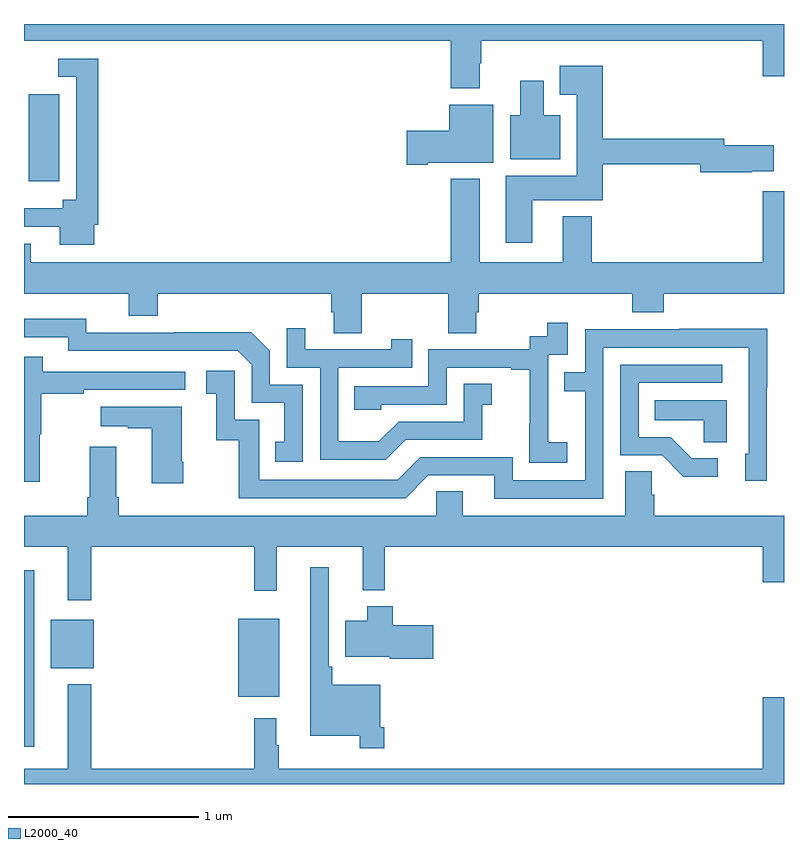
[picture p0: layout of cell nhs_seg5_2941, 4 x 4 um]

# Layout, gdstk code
import gdstk
lib = gdstk.Library(unit=1e-6, precision=1e-09)
def R(c, l, rs):  # rectangles x0, y0, x1, y1
    for r in rs: c.add(gdstk.rectangle(r[:2], r[2:], *l))
def P(c, l, *ps):  # polygons
    for p in ps: c.add(gdstk.Polygon(p, *l))
L2000_40 = (2000, 40)

nhs_seg5_2941 = lib.new_cell('nhs_seg5_2941')
R(nhs_seg5_2941, L2000_40, [(281,900.995,281.053,901.924), (282.128,901.259,282.343,901.669), (281.141,901.409,281.368,901.663), (281.024,903.972,281.185,904.429)])
P(nhs_seg5_2941, L2000_40, [(283.399,904.592),(283.407,904.592),(283.407,904.712),(284.888,904.712),(284.888,904.524),(285,904.524),(285,904.799),(281,904.799),(281,904.712),(283.247,904.712),(283.247,904.46),(283.399,904.46)],
  [(281.371,903.742),(281.39,903.742),(281.39,904.617),(281.181,904.617),(281.181,904.521),(281.274,904.521),(281.274,903.874),(281.204,903.874),(281.204,903.828),(281,903.828),(281,903.732),(281.189,903.732),(281.189,903.638),(281.371,903.638)],
  [(283.675,903.872),(284.045,903.872),(284.045,904.06),(284.558,904.06),(284.558,904.018),(284.834,904.018),(284.834,904.025),(284.947,904.025),(284.947,904.16),(284.686,904.16),(284.686,904.196),(284.045,904.196),(284.045,904.579),(283.82,904.579),(283.82,904.427),(283.91,904.427),(283.91,904),(283.535,904),(283.535,903.648),(283.675,903.648)],
  [(283.822,904.318),(283.735,904.318),(283.735,904.501),(283.613,904.501),(283.613,904.318),(283.559,904.318),(283.559,904.088),(283.822,904.088)],
  [(283.126,904.07),(283.471,904.07),(283.471,904.375),(283.238,904.375),(283.238,904.236),(283.014,904.236),(283.014,904.058),(283.126,904.058)],
  [(281.035,903.643),(281,903.643),(281,903.38),(281.552,903.38),(281.552,903.263),(281.705,903.263),(281.705,903.38),(282.617,903.38),(282.617,903.282),(282.629,903.282),(282.629,903.172),(282.777,903.172),(282.777,903.38),(283.234,903.38),(283.234,903.172),(283.381,903.172),(283.381,903.282),(283.394,903.282),(283.394,903.38),(284.201,903.38),(284.201,903.281),(284.366,903.281),(284.366,903.38),(285,903.38),(285,903.919),(284.888,903.919),(284.888,903.544),(283.988,903.544),(283.988,903.787),(283.835,903.787),(283.835,903.544),(283.399,903.544),(283.399,903.985),(283.247,903.985),(283.247,903.544),(281.035,903.544)],
  [(282.468,902.901),(282.294,902.901),(282.294,903.078),(282.196,903.176),(281.788,903.176),(281.788,903.174),(281.328,903.174),(281.328,903.247),(281,903.247),(281,903.15),(281.232,903.15),(281.232,903.078),(282.126,903.078),(282.198,903.006),(282.198,902.805),(282.371,902.805),(282.371,902.601),(282.322,902.601),(282.322,902.496),(282.468,902.496)],
  [(283.858,902.599),(283.76,902.599),(283.76,902.828),(283.758,902.828),(283.758,903.057),(283.863,903.057),(283.863,903.226),(283.755,903.226),(283.755,903.156),(283.662,903.156),(283.662,903.087),(283.128,903.087),(283.128,902.892),(282.739,902.892),(282.739,902.769),(282.879,902.769),(282.879,902.796),(283.224,902.796),(283.224,902.991),(283.565,902.991),(283.565,902.979),(283.661,902.979),(283.661,902.695),(283.66,902.695),(283.66,902.489),(283.858,902.489)],
  [(283.009,902.61),(283.413,902.61),(283.413,902.795),(283.462,902.795),(283.462,902.905),(283.314,902.905),(283.314,902.706),(282.972,902.706),(282.868,902.602),(282.654,902.602),(282.654,902.991),(283.043,902.991),(283.043,903.139),(282.932,903.139),(282.932,903.087),(282.481,903.087),(282.481,903.199),(282.384,903.199),(282.384,902.991),(282.558,902.991),(282.558,902.505),(282.904,902.505)],
  [(284.049,903.096),(284.814,903.096),(284.814,902.538),(284.795,902.538),(284.795,902.394),(284.91,902.394),(284.91,902.887),(284.913,902.887),(284.913,903.194),(284.449,903.194),(284.449,903.192),(283.953,903.192),(283.953,902.967),(283.843,902.967),(283.843,902.866),(283.953,902.866),(283.953,902.397),(283.572,902.397),(283.572,902.52),(283.086,902.52),(282.966,902.4),(282.237,902.4),(282.237,902.715),(282.108,902.715),(282.108,902.974),(281.958,902.974),(281.958,902.853),(282.011,902.853),(282.011,902.607),(282.129,902.607),(282.129,902.304),(283.008,902.304),(283.128,902.424),(283.475,902.424),(283.475,902.301),(284.049,902.301)],
  [(281.084,902.64),(281.092,902.64),(281.092,902.854),(281.315,902.854),(281.315,902.874),(281.848,902.874),(281.848,902.97),(281.099,902.97),(281.099,903.049),(281,903.049),(281,902.391),(281.084,902.391)],
  [(284.65,902.514),(284.515,902.514),(284.404,902.625),(284.235,902.625),(284.235,902.91),(284.674,902.91),(284.674,903.006),(284.139,903.006),(284.139,902.529),(284.358,902.529),(284.471,902.417),(284.65,902.417)],
  [(284.698,902.818),(284.32,902.818),(284.32,902.714),(284.577,902.714),(284.577,902.599),(284.698,902.599)],
  [(281.838,902.494),(281.83,902.494),(281.83,902.785),(281.403,902.785),(281.403,902.681),(281.546,902.681),(281.546,902.671),(281.672,902.671),(281.672,902.382),(281.838,902.382)],
  [(281.353,902.048),(282.211,902.048),(282.211,901.815),(282.329,901.815),(282.329,902.048),(282.782,902.048),(282.782,901.82),(282.899,901.82),(282.899,902.048),(284.888,902.048),(284.888,901.86),(285,901.86),(285,902.212),(284.318,902.212),(284.318,902.321),(284.304,902.321),(284.304,902.444),(284.165,902.444),(284.165,902.212),(283.309,902.212),(283.309,902.339),(283.17,902.339),(283.17,902.212),(281.498,902.212),(281.498,902.308),(281.485,902.308),(281.485,902.575),(281.345,902.575),(281.345,902.308),(281.333,902.308),(281.333,902.212),(281,902.212),(281,902.048),(281.231,902.048),(281.231,901.767),(281.353,901.767)],
  [(282.896,901.099),(282.876,901.099),(282.876,901.321),(282.623,901.321),(282.623,901.417),(282.603,901.417),(282.603,901.939),(282.506,901.939),(282.506,901.052),(282.768,901.052),(282.768,900.987),(282.896,900.987)],
  [(283.153,901.635),(282.941,901.635),(282.941,901.735),(282.806,901.735),(282.806,901.657),(282.692,901.657),(282.692,901.469),(282.924,901.469),(282.924,901.457),(283.153,901.457)],
  [(285,901.255),(284.888,901.255),(284.888,900.88),(282.34,900.88),(282.34,901.004),(282.328,901.004),(282.328,901.144),(282.211,901.144),(282.211,900.88),(281.353,900.88),(281.353,901.324),(281.231,901.324),(281.231,900.88),(281,900.88),(281,900.799),(285,900.799)])

lib.write_gds('nhs_seg5_2941.gds')
